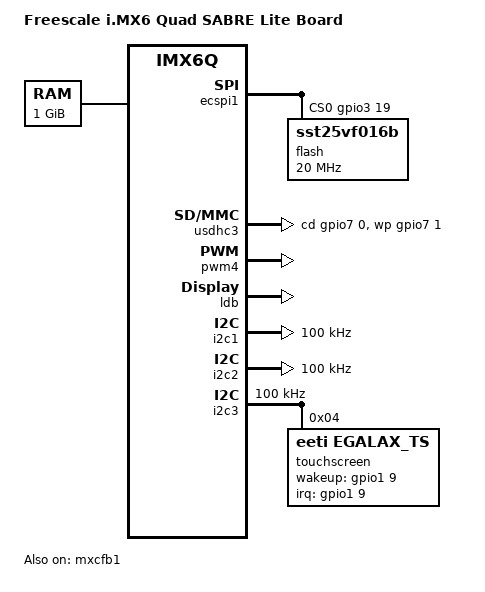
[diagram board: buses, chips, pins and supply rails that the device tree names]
/*
 * Copyright (C) 2014 Institut de Recherche Technologique SystemX and OpenWide.
 *
 * This program is free software; you can redistribute it and/or modify
 * it under the terms of the GNU General Public License as published by
 * the Free Software Foundation; either version 2, or (at your option)
 * any later version.
 *
 * This program is distributed in the hope that it will be useful,
 * but WITHOUT ANY WARRANTY; without even the implied warranty of
 * MERCHANTABILITY or FITNESS FOR A PARTICULAR PURPOSE.  See the
 * GNU General Public License for more details.
 *
 * You should have received a copy of the GNU General Public License
 * along with this program; if not, write to the Free Software
 * Foundation, Inc., 675 Mass Ave, Cambridge, MA 02139, USA.
 *
 * @file sabrelite.dtsi
 * @author Jimmy Durand Wesolowski (jimmy.durand-wesolowski@openwide.fr)
 * @brief Sabrelite-specific device tree definitions.
 */

#include "../imx6q.dtsi"

/ {
	#address-cells = <0x1>;
	#size-cells = <0x1>;
	model = "Freescale i.MX6 Quad SABRE Lite Board";
	compatible = "fsl,imx6q-sabrelite", "fsl,imx6q";

	memory {
		device_type = "memory";
		reg = <0x10000000 0x40000000>; /* 1 GB */
	};
};

&ecspi1 {
	#address-cells = <1>;
	#size-cells = <0>;

	fsl,spi-num-chipselects = <1>;
	cs-gpios = <&gpio3 19 0>;
	pinctrl-names = "default";
	pinctrl-0 = <&pinctrl_ecspi1_1>;
	status = "okay";

	/* This must be add to specify the SPI bus number, used by the flash
	   driver. */
	bus = <0>;

	flash: m25p80@0 {
		compatible = "sst25vf016b";
		spi-max-frequency = <20000000>;
		reg = <0>;
	};
};

&usdhc3 {
	pinctrl-names = "default";
	pinctrl-0 = <&pinctrl_usdhc3_2>;
	cd-gpios = <&gpio7 0 0>;
	wp-gpios = <&gpio7 1 0>;
	/* vmmc-supply = <&reg_3p3v>; */
	status = "okay";
};

&pwm4 {
	pinctrl-names = "default";
	pinctrl-0 = <&pinctrl_pwm4>;
	status = "okay";
};

&ldb {
	ipu_id = <0>;
	disp_id = <0>;
	ext_ref = <1>;
	mode = "sin0";
	sec_ipu_id = <1>;
	sec_disp_id = <1>;
	status = "okay";
};

&mxcfb1 {
	status = "okay";
	interface_pix_fmt = "RGB565";
	default_bpp = <16>;
	mode_str ="LDB-XGA";
};

&i2c1 {
	status = "okay";
	clock-frequency = <100000>;
	pinctrl-names = "default";
	pinctrl-0 = <&pinctrl_i2c1_1>;
};

&i2c2 {
	status = "okay";
	clock-frequency = <100000>;
	pinctrl-names = "default";
	pinctrl-0 = <&pinctrl_i2c2_2>;
};

&i2c3 {
	status = "okay";
	clock-frequency = <100000>;
	pinctrl-names = "default";
	pinctrl-0 = <&pinctrl_i2c3_3>;

	touchscreen: egalax_ts@4 {
		compatible = "eeti,egalax_ts";
		reg = <0x04>;
		interrupt-parent = <&gpio1>;
		interrupts = <9 2>;
		wakeup-gpios = <&gpio1 9 0>;
	};
};

&iomuxc {
	pinctrl-names = "default";
	pinctrl-0 = <&pinctrl_hog>;

	hog {
		pinctrl_hog: hoggrp {
			fsl,pins = <
				MX6QDL_PAD_EIM_D19__GPIO3_IO19		0x80000000	/* spi-nor CS */
				MX6QDL_PAD_EIM_D22__GPIO3_IO22		0x80000000	/* otg power en */
				MX6QDL_PAD_GPIO_17__GPIO7_IO12		0x1b0b0		/* USB hub reset */
				MX6QDL_PAD_ENET_RXD0__GPIO1_IO27	0x000b0		/* ethernet phy reset */
				MX6QDL_PAD_ENET_TX_EN__GPIO1_IO28	0x000b0		/* ethernet phy interrupt */
				MX6QDL_PAD_SD3_DAT5__GPIO7_IO00		0x80000000	/* USDHC3 CD */
				MX6QDL_PAD_SD3_DAT4__GPIO7_IO01		0x1f0b0		/* Spare */
				MX6QDL_PAD_NANDF_D6__GPIO2_IO06		0x80000000	/* uSDHC4 CD */
				MX6QDL_PAD_NANDF_D7__GPIO2_IO07		0x80000000	/* Spare */
				MX6QDL_PAD_GPIO_0__CCM_CLKO1		0x000b0		/* SGTL5000 sys_mclk */
				MX6QDL_PAD_GPIO_2__GPIO1_IO02		0x80000000	/* CAN standby */
				MX6QDL_PAD_GPIO_4__GPIO1_IO04		0x80000000	/* Spare */
				MX6QDL_PAD_GPIO_9__GPIO1_IO09		0x80000000	/* I2C3 touch screen interrupt */
				MX6QDL_PAD_DI0_PIN4__GPIO4_IO20		0x1b0b0		/* tsc2004 interrupt */
				MX6QDL_PAD_NANDF_WP_B__GPIO6_IO09	0x0b0b0		/* ov5640 mipi powerdown */
				MX6QDL_PAD_NANDF_D5__GPIO2_IO05		0x000b0		/* ov5640 mipi reset */
				MX6QDL_PAD_GPIO_3__CCM_CLKO2		0x000b0		/* ov5642 mclk */
				MX6QDL_PAD_GPIO_6__GPIO1_IO06		0x000b0		/* ov5642 Power Down */
				MX6QDL_PAD_GPIO_8__GPIO1_IO08		0x000b0		/* ov5642 Reset */
				MX6QDL_PAD_NANDF_CS1__GPIO6_IO14	0x100b0		/* wl12xx_wl_irq */
				MX6QDL_PAD_NANDF_CS2__GPIO6_IO15	0x000b0		/* wl12xx_wl_en */
				MX6QDL_PAD_NANDF_CS3__GPIO6_IO16	0x000b0		/* wl12xx_bt_en */
#if 0
				MX6QDL_PAD_SD1_CLK__OSC32K_32K_OUT	0x000b0		/* TiWi slow clock */
#endif /* 0 */
				MX6QDL_PAD_NANDF_CLE__GPIO6_IO07	0x1b0b0		/* ISL1208 interrupt */
			>;
		};
	};
};
